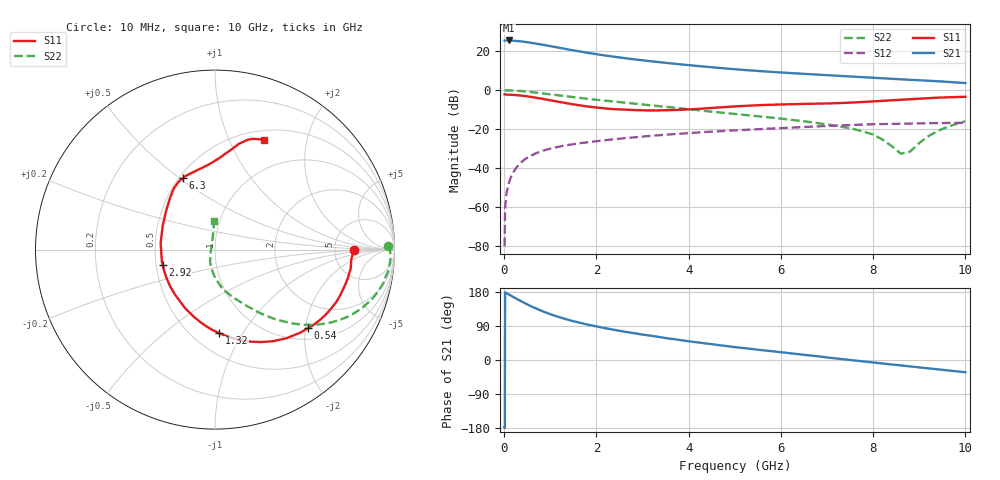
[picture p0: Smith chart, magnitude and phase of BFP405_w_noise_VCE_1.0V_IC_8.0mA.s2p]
! Infineon Technologies  Discrete & RF Semiconductors
! BFP405
! VCE =  1.0 V,  IC =  8.0 mA
! Common Emitter S-Parameters:  Jan 2016
# GHz  S  MA  R  50
!  f  S11  S21  S12  S22
! GHz  MAG  ANG  MAG  ANG  MAG  ANG  MAG  ANG
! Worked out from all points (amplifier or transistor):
!   233 points, 10 MHz to 10 GHz, reference 50 ohm
!   highest |S21| = 25.4 dB at 100 MHz (marker M1)
!   |S21| within 3 dB of that: start of sweep to 1.023 GHz
!   unconditionally stable (mu >= 1): start of sweep to 16.29 MHz; 2.674 GHz to end of sweep
!   at 200 MHz: K = 0.14, MSG = 33.7 dB, |S12| = -42.2 dB
!   at 1.74 GHz: K = 0.74, MSG = 23.1 dB, |S12| = -26.9 dB
!   at 10 GHz: K = 1.43, MAG = 6.3 dB, |S12| = -16.8 dB
!   lowest NFmin = 1.48 dB at 900 MHz
!   S11 on the Smith chart (normalised r, x): 10 MHz: 7.89, +0.00; 540 MHz: 1.27, -2.06; 1.32 GHz: 0.67, -0.80; 2.92 GHz: 0.54, -0.11; 6.3 GHz: 0.52, +0.51; 10 GHz: 0.61, +1.36
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0.01  0.7751 0.0  18.61 -177.4  0.0001 4.3  0.9668 1.3
0.02  0.7702 -1.2  18.63 178.3  0.0009 106.3  0.9743 -0.3
0.05  0.761 -4.2  18.54 176.8  0.0022 91.9  0.9791 -1.5
0.1  0.7634 -7.7  18.64 172.8  0.004 87.0  0.9792 -3.6
0.24  0.7448 -18.6  18.3 163.4  0.0093 81.1  0.9619 -9.2
0.36  0.7236 -27.6  17.67 155.5  0.0137 77.0  0.9431 -13.5
0.54  0.6778 -40.3  16.57 144.5  0.0196 71.3  0.9 -19.4
0.7  0.6342 -51.1  15.46 135.5  0.0243 67.0  0.8571 -24.1
0.9  0.5757 -63.5  14.05 125.4  0.0293 62.6  0.801 -29.1
1.1  0.5209 -75.1  12.71 116.7  0.0337 59.0  0.7478 -33.3
1.32  0.4669 -87.0  11.36 108.5  0.0379 55.9  0.6939 -37.1
1.68  0.3988 -105.4  9.553 97.0  0.0441 52.1  0.6182 -42.1
2.2  0.337 -130.9  7.641 83.7  0.0521 48.1  0.5324 -47.7
2.92  0.3043 -163.2  5.922 68.7  0.0631 43.3  0.4385 -54.3
3.4  0.3018 177.2  5.122 60.0  0.0703 40.0  0.3833 -58.5
4  0.32 155.6  4.341 49.3  0.079 35.9  0.3222 -64.4
5.1  0.3868 129.6  3.343 32.7  0.094 27.9  0.2372 -76.2
6.3  0.4362 114.2  2.683 16.5  0.1103 19.4  0.1689 -87.2
6.8  0.4475 106.4  2.476 9.7  0.1173 15.5  0.142 -92.3
8.4  0.5492 82.4  1.94 -11.8  0.1362 1.0  0.0369 -132.6
8.8  0.5861 78.8  1.831 -16.8  0.139 -2.4  0.0264 137.8
10  0.6725 65.8  1.506 -32.3  0.1453 -11.4  0.158 91.8
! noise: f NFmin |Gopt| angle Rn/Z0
0.9  1.48  0.25  8  0.32
1.8  1.74  0.19  10  0.3
2.4  1.86  0.16  14  0.3
3  1.88  0.12  33  0.28
4  2.05  0.03  -6  0.27
5  2.41  0.06  -110  0.26
